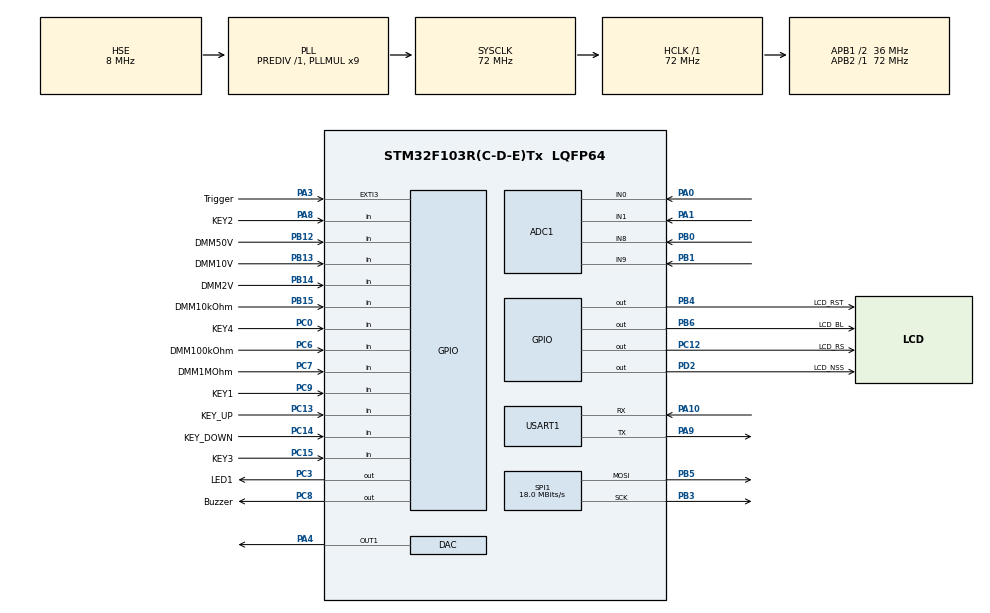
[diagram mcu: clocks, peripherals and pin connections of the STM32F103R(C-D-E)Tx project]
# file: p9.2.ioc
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ADC1.Channel-0\#ChannelRegularConversion=ADC_CHANNEL_1
ADC1.Channel-1\#ChannelInjectedConversion=ADC_CHANNEL_9
ADC1.Channel-2\#ChannelInjectedConversion=ADC_CHANNEL_VREFINT
ADC1.Channel-3\#ChannelInjectedConversion=ADC_CHANNEL_8
ADC1.Channel-4\#ChannelInjectedConversion=ADC_CHANNEL_0
ADC1.EnableInjectedConversion=ENABLE
ADC1.ExternalTrigConv=ADC_EXTERNALTRIGCONV_T3_TRGO
ADC1.ExternalTrigInjecConv=ADC_EXTERNALTRIGINJECCONV_T2_TRGO
ADC1.InjNumberOfConversion=4
ADC1.InjectedOffset-1\#ChannelInjectedConversion=0
ADC1.InjectedOffset-2\#ChannelInjectedConversion=0
ADC1.InjectedOffset-3\#ChannelInjectedConversion=0
ADC1.InjectedOffset-4\#ChannelInjectedConversion=0
ADC1.InjectedRank-1\#ChannelInjectedConversion=1
ADC1.InjectedRank-2\#ChannelInjectedConversion=2
ADC1.InjectedRank-3\#ChannelInjectedConversion=3
ADC1.InjectedRank-4\#ChannelInjectedConversion=4
ADC1.NbrOfConversionFlag=1
ADC1.Rank-0\#ChannelRegularConversion=1
ADC1.SamplingTime-0\#ChannelRegularConversion=ADC_SAMPLETIME_1CYCLE_5
ADC1.SamplingTime-1\#ChannelInjectedConversion=ADC_SAMPLETIME_1CYCLE_5
ADC1.SamplingTime-2\#ChannelInjectedConversion=ADC_SAMPLETIME_239CYCLES_5
ADC1.SamplingTime-3\#ChannelInjectedConversion=ADC_SAMPLETIME_1CYCLE_5
ADC1.SamplingTime-4\#ChannelInjectedConversion=ADC_SAMPLETIME_13CYCLES_5
ADC1.master=1
DAC.DAC_OutputBuffer=DAC_OUTPUTBUFFER_DISABLE
DAC.DAC_Trigger=DAC_TRIGGER_T5_TRGO
Dma.ADC1.1.Direction=DMA_PERIPH_TO_MEMORY
Dma.ADC1.1.Instance=DMA1_Channel1
Dma.ADC1.1.MemDataAlignment=DMA_MDATAALIGN_HALFWORD
Dma.ADC1.1.MemInc=DMA_MINC_ENABLE
Dma.ADC1.1.Mode=DMA_NORMAL
Dma.ADC1.1.PeriphDataAlignment=DMA_PDATAALIGN_HALFWORD
Dma.ADC1.1.PeriphInc=DMA_PINC_DISABLE
Dma.ADC1.1.Priority=DMA_PRIORITY_LOW
Dma.DAC_CH1.2.Direction=DMA_MEMORY_TO_PERIPH
Dma.DAC_CH1.2.Instance=DMA2_Channel3
Dma.DAC_CH1.2.MemDataAlignment=DMA_MDATAALIGN_HALFWORD
Dma.DAC_CH1.2.MemInc=DMA_MINC_ENABLE
Dma.DAC_CH1.2.Mode=DMA_CIRCULAR
Dma.DAC_CH1.2.PeriphDataAlignment=DMA_PDATAALIGN_HALFWORD
Dma.DAC_CH1.2.PeriphInc=DMA_PINC_DISABLE
Dma.DAC_CH1.2.Priority=DMA_PRIORITY_LOW
Dma.Request0=SPI1_TX
Dma.Request1=ADC1
Dma.Request2=DAC_CH1
Dma.SPI1_TX.0.Direction=DMA_MEMORY_TO_PERIPH
Dma.SPI1_TX.0.Instance=DMA1_Channel3
Dma.SPI1_TX.0.MemDataAlignment=DMA_MDATAALIGN_BYTE
Dma.SPI1_TX.0.MemInc=DMA_MINC_ENABLE
Dma.SPI1_TX.0.Mode=DMA_NORMAL
Dma.SPI1_TX.0.PeriphDataAlignment=DMA_PDATAALIGN_BYTE
Dma.SPI1_TX.0.PeriphInc=DMA_PINC_DISABLE
Dma.SPI1_TX.0.Priority=DMA_PRIORITY_LOW
Mcu.Family=STM32F1
Mcu.Name=STM32F103R(C-D-E)Tx
Mcu.Package=LQFP64
NVIC.ADC1_2_IRQn=true\:15\:0\:true\:false\:true\:true\:true\:true
NVIC.DMA1_Channel1_IRQn=true\:6\:0\:true\:false\:true\:false\:true\:true
NVIC.DMA1_Channel3_IRQn=true\:6\:0\:true\:false\:true\:false\:true\:true
NVIC.DMA2_Channel3_IRQn=true\:0\:0\:false\:false\:true\:false\:true\:true
NVIC.EXTI3_IRQn=true\:5\:0\:true\:false\:true\:true\:true\:true
NVIC.PriorityGroup=NVIC_PRIORITYGROUP_4
NVIC.TIM6_IRQn=true\:15\:0\:true\:false\:true\:false\:true\:true
NVIC.TimeBase=TIM6_IRQn
NVIC.TimeBaseIP=TIM6
PA0-WKUP.Signal=ADCx_IN0
PA1.Signal=ADCx_IN1
PA10.Mode=Asynchronous
PA10.Signal=USART1_RX
PA13.Mode=Serial_Wire
PA13.Signal=SYS_JTMS-SWDIO
PA14.Mode=Serial_Wire
PA14.Signal=SYS_JTCK-SWCLK
PA3.GPIO_Label=Trigger
PA3.Signal=GPXTI3
PA4.Signal=COMP_DAC1_group
PA8.GPIO_Label=KEY2
PA8.GPIO_PuPd=GPIO_PULLUP
PA8.Signal=GPIO_Input
PA9.Mode=Asynchronous
PA9.Signal=USART1_TX
PB0.Signal=ADCx_IN8
PB1.Signal=ADCx_IN9
PB12.GPIO_Label=DMM50V
PB12.GPIO_Mode=GPIO_MODE_INPUT
PB12.GPIO_PuPd=GPIO_PULLDOWN
PB12.Signal=GPIO_Input
PB13.GPIO_Label=DMM10V
PB13.GPIO_Mode=GPIO_MODE_INPUT
PB13.GPIO_PuPd=GPIO_PULLDOWN
PB13.Signal=GPIO_Input
PB14.GPIO_Label=DMM2V
PB14.GPIO_Mode=GPIO_MODE_INPUT
PB14.GPIO_PuPd=GPIO_PULLDOWN
PB14.Signal=GPIO_Input
PB15.GPIO_Label=DMM10kOhm
PB15.GPIO_Mode=GPIO_MODE_INPUT
PB15.GPIO_PuPd=GPIO_PULLDOWN
PB15.Signal=GPIO_Input
PB3.Mode=TX_Only_Simplex_Unidirect_Master
PB3.Signal=SPI1_SCK
PB4.GPIO_Label=LCD_RST
PB4.Signal=GPIO_Output
PB5.Mode=TX_Only_Simplex_Unidirect_Master
PB5.Signal=SPI1_MOSI
PB6.GPIO_Label=LCD_BL
PB6.Signal=GPIO_Output
PC0.GPIO_Label=KEY4
PC0.GPIO_PuPd=GPIO_PULLUP
PC0.Signal=GPIO_Input
PC12.GPIO_Label=LCD_RS
PC12.Signal=GPIO_Output
PC13-TAMPER-RTC.GPIO_Label=KEY_UP
PC13-TAMPER-RTC.GPIO_PuPd=GPIO_PULLUP
PC13-TAMPER-RTC.Signal=GPIO_Input
PC14-OSC32_IN.GPIO_Label=KEY_DOWN
PC14-OSC32_IN.GPIO_PuPd=GPIO_PULLUP
PC14-OSC32_IN.Signal=GPIO_Input
PC15-OSC32_OUT.GPIO_Label=KEY3
PC15-OSC32_OUT.GPIO_PuPd=GPIO_PULLUP
PC15-OSC32_OUT.Signal=GPIO_Input
PC3.GPIO_Label=LED1
PC3.Signal=GPIO_Output
PC6.GPIO_Label=DMM100kOhm
PC6.GPIO_Mode=GPIO_MODE_INPUT
PC6.GPIO_PuPd=GPIO_PULLDOWN
PC6.Signal=GPIO_Input
PC7.GPIO_Label=DMM1MOhm
PC7.GPIO_Mode=GPIO_MODE_INPUT
PC7.GPIO_PuPd=GPIO_PULLDOWN
PC7.Signal=GPIO_Input
PC8.GPIO_Label=Buzzer
PC8.Signal=GPIO_Output
PC9.GPIO_Label=KEY1
PC9.GPIO_PuPd=GPIO_PULLUP
PC9.Signal=GPIO_Input
PD0-OSC_IN.Mode=HSE-External-Oscillator
PD0-OSC_IN.Signal=RCC_OSC_IN
PD1-OSC_OUT.Mode=HSE-External-Oscillator
PD1-OSC_OUT.Signal=RCC_OSC_OUT
PD2.GPIO_Label=LCD_NSS
PD2.PinState=GPIO_PIN_SET
PD2.Signal=GPIO_Output
ProjectManager.HeapSize=0x200
ProjectManager.StackSize=0x400
ProjectManager.TargetToolchain=STM32CubeIDE
RCC.ADCPresc=RCC_ADCPCLK2_DIV6
RCC.AHBFreq_Value=72000000
RCC.APB1CLKDivider=RCC_HCLK_DIV2
RCC.APB1Freq_Value=36000000
RCC.APB1TimFreq_Value=72000000
RCC.APB2Freq_Value=72000000
RCC.APB2TimFreq_Value=72000000
RCC.HCLKFreq_Value=72000000
RCC.PLLMUL=RCC_PLL_MUL9
RCC.PLLSourceVirtual=RCC_PLLSOURCE_HSE
RCC.SYSCLKFreq_VALUE=72000000
RCC.SYSCLKSource=RCC_SYSCLKSOURCE_PLLCLK
RCC.USBFreq_Value=72000000
SH.ADCx_IN0.0=ADC1_IN0,IN0
SH.ADCx_IN1.0=ADC1_IN1,IN1
SH.ADCx_IN8.0=ADC1_IN8,IN8
SH.ADCx_IN9.0=ADC1_IN9,IN9
SH.COMP_DAC1_group.0=DAC_OUT1,DAC_OUT1
SPI1.BaudRatePrescaler=SPI_BAUDRATEPRESCALER_4
SPI1.CalculateBaudRate=18.0 MBits/s
SPI1.Direction=SPI_DIRECTION_2LINES
SPI1.Mode=SPI_MODE_MASTER
SPI1.VirtualType=VM_MASTER
TIM2.Period=999
TIM2.Prescaler=7199
TIM2.TIM_MasterOutputTrigger=TIM_TRGO_UPDATE
TIM3.AutoReloadPreload=TIM_AUTORELOAD_PRELOAD_ENABLE
TIM3.Period=561
TIM3.Prescaler=0
TIM3.TIM_MasterOutputTrigger=TIM_TRGO_UPDATE
TIM5.AutoReloadPreload=TIM_AUTORELOAD_PRELOAD_ENABLE
TIM5.Period=1
TIM5.Prescaler=71
TIM5.TIM_MasterOutputTrigger=TIM_TRGO_UPDATE
USART1.VirtualMode=VM_ASYNC
VP_ADC1_Vref_Input.Mode=IN-Vrefint
VP_SYS_VS_tim6.Mode=TIM6
VP_TIM2_VS_ClockSourceINT.Mode=Internal
VP_TIM3_VS_ClockSourceINT.Mode=Internal
VP_TIM5_VS_ClockSourceINT.Mode=Internal
board=custom

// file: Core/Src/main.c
/* USER CODE BEGIN Header */
/**
  ******************************************************************************
  * @file           : main.c
  * @brief          : Main program body
  ******************************************************************************
  * @attention
  *
  * Copyright (c) 2026 STMicroelectronics.
  * All rights reserved.
  *
  * This software is licensed under terms that can be found in the LICENSE file
  * in the root directory of this software component.
  * If no LICENSE file comes with this software, it is provided AS-IS.
  *
  ******************************************************************************
  */
/* USER CODE END Header */
#include "main.h"

/* USER CODE BEGIN Includes */
#include "FreeRTOS.h"
#include "task.h"
#include "key_task.h"
#include "buzzer_task.h"
#include "lcd_task.h"
#include "led_task.h"
#include "dmm.h"
#include "waveform_capture.h"
#include "waveform_generator.h"
/* USER CODE END Includes */

ADC_HandleTypeDef hadc1;
DMA_HandleTypeDef hdma_adc1;

DAC_HandleTypeDef hdac;
DMA_HandleTypeDef hdma_dac_ch1;

SPI_HandleTypeDef hspi1;
DMA_HandleTypeDef hdma_spi1_tx;

TIM_HandleTypeDef htim2;
TIM_HandleTypeDef htim3;
TIM_HandleTypeDef htim5;

UART_HandleTypeDef huart1;

void SystemClock_Config(void);
static void MX_GPIO_Init(void);
static void MX_DMA_Init(void);
static void MX_USART1_UART_Init(void);
static void MX_SPI1_Init(void);
static void MX_ADC1_Init(void);
static void MX_TIM2_Init(void);
static void MX_TIM3_Init(void);
static void MX_DAC_Init(void);
static void MX_TIM5_Init(void);

int main(void)
{

  /* MCU Configuration--------------------------------------------------------*/

  /* Reset of all peripherals, Initializes the Flash interface and the Systick. */
  HAL_Init();

  /* Configure the system clock */
  SystemClock_Config();

  /* Initialize all configured peripherals */
  MX_GPIO_Init();
  MX_DMA_Init();
  MX_USART1_UART_Init();
  MX_SPI1_Init();
  MX_ADC1_Init();
  MX_TIM2_Init();
  MX_TIM3_Init();
  MX_DAC_Init();
  MX_TIM5_Init();
  /* USER CODE BEGIN 2 */
  Buzzer_Init();
  vLCDTaskInit();
  vDMMInit();
  WaveformCapture_Init();
  WaveformGenerator_Init(); // 对波形发生器进行初始化

  xTaskCreate(vKeyTask, "Key", 128, NULL, 3, NULL);
  xTaskCreate(vBuzzerTask, "Buzzer", 128, NULL, 1, NULL);
  xTaskCreate(vLCDTask, "LCD", 256, NULL, 1, NULL);
  xTaskCreate(vLEDTask, "LED", 128, NULL, 0, NULL);
  vTaskStartScheduler();

  /* USER CODE END 2 */

  /* Infinite loop */
  while (1)
  {

  }
}

void SystemClock_Config(void)
{
  RCC_OscInitTypeDef RCC_OscInitStruct = {0};
  RCC_ClkInitTypeDef RCC_ClkInitStruct = {0};
  RCC_PeriphCLKInitTypeDef PeriphClkInit = {0};

  /** Initializes the RCC Oscillators according to the specified parameters
  * in the RCC_OscInitTypeDef structure.
  */
  RCC_OscInitStruct.OscillatorType = RCC_OSCILLATORTYPE_HSE;
  RCC_OscInitStruct.HSEState = RCC_HSE_ON;
  RCC_OscInitStruct.HSEPredivValue = RCC_HSE_PREDIV_DIV1;
  RCC_OscInitStruct.HSIState = RCC_HSI_ON;
  RCC_OscInitStruct.PLL.PLLState = RCC_PLL_ON;
  RCC_OscInitStruct.PLL.PLLSource = RCC_PLLSOURCE_HSE;
  RCC_OscInitStruct.PLL.PLLMUL = RCC_PLL_MUL9;
  if (HAL_RCC_OscConfig(&RCC_OscInitStruct) != HAL_OK)
  {
    Error_Handler();
  }

  /** Initializes the CPU, AHB and APB buses clocks
  */
  RCC_ClkInitStruct.ClockType = RCC_CLOCKTYPE_HCLK|RCC_CLOCKTYPE_SYSCLK
                              |RCC_CLOCKTYPE_PCLK1|RCC_CLOCKTYPE_PCLK2;
  RCC_ClkInitStruct.SYSCLKSource = RCC_SYSCLKSOURCE_PLLCLK;
  RCC_ClkInitStruct.AHBCLKDivider = RCC_SYSCLK_DIV1;
  RCC_ClkInitStruct.APB1CLKDivider = RCC_HCLK_DIV2;
  RCC_ClkInitStruct.APB2CLKDivider = RCC_HCLK_DIV1;

  if (HAL_RCC_ClockConfig(&RCC_ClkInitStruct, FLASH_LATENCY_2) != HAL_OK)
  {
    Error_Handler();
  }
  PeriphClkInit.PeriphClockSelection = RCC_PERIPHCLK_ADC;
  PeriphClkInit.AdcClockSelection = RCC_ADCPCLK2_DIV6;
  if (HAL_RCCEx_PeriphCLKConfig(&PeriphClkInit) != HAL_OK)
  {
    Error_Handler();
  }
}

static void MX_ADC1_Init(void)
{

  ADC_ChannelConfTypeDef sConfig = {0};
  ADC_InjectionConfTypeDef sConfigInjected = {0};

  /** Common config
  */
  hadc1.Instance = ADC1;
  hadc1.Init.ScanConvMode = ADC_SCAN_ENABLE;
  hadc1.Init.ContinuousConvMode = DISABLE;
  hadc1.Init.DiscontinuousConvMode = DISABLE;
  hadc1.Init.ExternalTrigConv = ADC_EXTERNALTRIGCONV_T3_TRGO;
  hadc1.Init.DataAlign = ADC_DATAALIGN_RIGHT;
  hadc1.Init.NbrOfConversion = 1;
  if (HAL_ADC_Init(&hadc1) != HAL_OK)
  {
    Error_Handler();
  }

  /** Configure Regular Channel
  */
  sConfig.Channel = ADC_CHANNEL_1;
  sConfig.Rank = ADC_REGULAR_RANK_1;
  sConfig.SamplingTime = ADC_SAMPLETIME_1CYCLE_5;
  if (HAL_ADC_ConfigChannel(&hadc1, &sConfig) != HAL_OK)
  {
    Error_Handler();
  }

  /** Configure Injected Channel
  */
  sConfigInjected.InjectedChannel = ADC_CHANNEL_9;
  sConfigInjected.InjectedRank = ADC_INJECTED_RANK_1;
  sConfigInjected.InjectedNbrOfConversion = 4;
  sConfigInjected.InjectedSamplingTime = ADC_SAMPLETIME_1CYCLE_5;
  sConfigInjected.ExternalTrigInjecConv = ADC_EXTERNALTRIGINJECCONV_T2_TRGO;
  sConfigInjected.AutoInjectedConv = DISABLE;
  sConfigInjected.InjectedDiscontinuousConvMode = DISABLE;
  sConfigInjected.InjectedOffset = 0;
  if (HAL_ADCEx_InjectedConfigChannel(&hadc1, &sConfigInjected) != HAL_OK)
  {
    Error_Handler();
  }

  /** Configure Injected Channel
  */
  sConfigInjected.InjectedChannel = ADC_CHANNEL_VREFINT;
  sConfigInjected.InjectedRank = ADC_INJECTED_RANK_2;
  sConfigInjected.InjectedSamplingTime = ADC_SAMPLETIME_239CYCLES_5;
  if (HAL_ADCEx_InjectedConfigChannel(&hadc1, &sConfigInjected) != HAL_OK)
  {
    Error_Handler();
  }

  /** Configure Injected Channel
  */
  sConfigInjected.InjectedChannel = ADC_CHANNEL_8;
  sConfigInjected.InjectedRank = ADC_INJECTED_RANK_3;
  sConfigInjected.InjectedSamplingTime = ADC_SAMPLETIME_1CYCLE_5;
  if (HAL_ADCEx_InjectedConfigChannel(&hadc1, &sConfigInjected) != HAL_OK)
  {
    Error_Handler();
  }

  /** Configure Injected Channel
  */
  sConfigInjected.InjectedChannel = ADC_CHANNEL_0;
  sConfigInjected.InjectedRank = ADC_INJECTED_RANK_4;
  sConfigInjected.InjectedSamplingTime = ADC_SAMPLETIME_13CYCLES_5;
  if (HAL_ADCEx_InjectedConfigChannel(&hadc1, &sConfigInjected) != HAL_OK)
  {
    Error_Handler();
  }

}

static void MX_DAC_Init(void)
{

  DAC_ChannelConfTypeDef sConfig = {0};

  /** DAC Initialization
  */
  hdac.Instance = DAC;
  if (HAL_DAC_Init(&hdac) != HAL_OK)
  {
    Error_Handler();
  }

  /** DAC channel OUT1 config
  */
  sConfig.DAC_Trigger = DAC_TRIGGER_T5_TRGO;
  sConfig.DAC_OutputBuffer = DAC_OUTPUTBUFFER_DISABLE;
  if (HAL_DAC_ConfigChannel(&hdac, &sConfig, DAC_CHANNEL_1) != HAL_OK)
  {
    Error_Handler();
  }

}

static void MX_SPI1_Init(void)
{

  /* SPI1 parameter configuration*/
  hspi1.Instance = SPI1;
  hspi1.Init.Mode = SPI_MODE_MASTER;
  hspi1.Init.Direction = SPI_DIRECTION_2LINES;
  hspi1.Init.DataSize = SPI_DATASIZE_8BIT;
  hspi1.Init.CLKPolarity = SPI_POLARITY_LOW;
  hspi1.Init.CLKPhase = SPI_PHASE_1EDGE;
  hspi1.Init.NSS = SPI_NSS_SOFT;
  hspi1.Init.BaudRatePrescaler = SPI_BAUDRATEPRESCALER_4;
  hspi1.Init.FirstBit = SPI_FIRSTBIT_MSB;
  hspi1.Init.TIMode = SPI_TIMODE_DISABLE;
  hspi1.Init.CRCCalculation = SPI_CRCCALCULATION_DISABLE;
  hspi1.Init.CRCPolynomial = 10;
  if (HAL_SPI_Init(&hspi1) != HAL_OK)
  {
    Error_Handler();
  }

}

static void MX_TIM2_Init(void)
{

  TIM_ClockConfigTypeDef sClockSourceConfig = {0};
  TIM_MasterConfigTypeDef sMasterConfig = {0};

  htim2.Instance = TIM2;
  htim2.Init.Prescaler = 7199;
  htim2.Init.CounterMode = TIM_COUNTERMODE_UP;
  htim2.Init.Period = 999;
  htim2.Init.ClockDivision = TIM_CLOCKDIVISION_DIV1;
  htim2.Init.AutoReloadPreload = TIM_AUTORELOAD_PRELOAD_DISABLE;
  if (HAL_TIM_Base_Init(&htim2) != HAL_OK)
  {
    Error_Handler();
  }
  sClockSourceConfig.ClockSource = TIM_CLOCKSOURCE_INTERNAL;
  if (HAL_TIM_ConfigClockSource(&htim2, &sClockSourceConfig) != HAL_OK)
  {
    Error_Handler();
  }
  sMasterConfig.MasterOutputTrigger = TIM_TRGO_UPDATE;
  sMasterConfig.MasterSlaveMode = TIM_MASTERSLAVEMODE_DISABLE;
  if (HAL_TIMEx_MasterConfigSynchronization(&htim2, &sMasterConfig) != HAL_OK)
  {
    Error_Handler();
  }

}

static void MX_TIM3_Init(void)
{

  TIM_ClockConfigTypeDef sClockSourceConfig = {0};
  TIM_MasterConfigTypeDef sMasterConfig = {0};

  htim3.Instance = TIM3;
  htim3.Init.Prescaler = 0;
  htim3.Init.CounterMode = TIM_COUNTERMODE_UP;
  htim3.Init.Period = 561;
  htim3.Init.ClockDivision = TIM_CLOCKDIVISION_DIV1;
  htim3.Init.AutoReloadPreload = TIM_AUTORELOAD_PRELOAD_ENABLE;
  if (HAL_TIM_Base_Init(&htim3) != HAL_OK)
  {
    Error_Handler();
  }
  sClockSourceConfig.ClockSource = TIM_CLOCKSOURCE_INTERNAL;
  if (HAL_TIM_ConfigClockSource(&htim3, &sClockSourceConfig) != HAL_OK)
  {
    Error_Handler();
  }
  sMasterConfig.MasterOutputTrigger = TIM_TRGO_UPDATE;
  sMasterConfig.MasterSlaveMode = TIM_MASTERSLAVEMODE_DISABLE;
  if (HAL_TIMEx_MasterConfigSynchronization(&htim3, &sMasterConfig) != HAL_OK)
  {
    Error_Handler();
  }

}

static void MX_TIM5_Init(void)
{

  TIM_ClockConfigTypeDef sClockSourceConfig = {0};
  TIM_MasterConfigTypeDef sMasterConfig = {0};

  htim5.Instance = TIM5;
  htim5.Init.Prescaler = 71;
  htim5.Init.CounterMode = TIM_COUNTERMODE_UP;
  htim5.Init.Period = 1;
  htim5.Init.ClockDivision = TIM_CLOCKDIVISION_DIV1;
  htim5.Init.AutoReloadPreload = TIM_AUTORELOAD_PRELOAD_ENABLE;
  if (HAL_TIM_Base_Init(&htim5) != HAL_OK)
  {
    Error_Handler();
  }
  sClockSourceConfig.ClockSource = TIM_CLOCKSOURCE_INTERNAL;
  if (HAL_TIM_ConfigClockSource(&htim5, &sClockSourceConfig) != HAL_OK)
  {
    Error_Handler();
  }
  sMasterConfig.MasterOutputTrigger = TIM_TRGO_UPDATE;
  sMasterConfig.MasterSlaveMode = TIM_MASTERSLAVEMODE_DISABLE;
  if (HAL_TIMEx_MasterConfigSynchronization(&htim5, &sMasterConfig) != HAL_OK)
  {
    Error_Handler();
  }

}

static void MX_USART1_UART_Init(void)
{

  huart1.Instance = USART1;
  huart1.Init.BaudRate = 115200;
  huart1.Init.WordLength = UART_WORDLENGTH_8B;
  huart1.Init.StopBits = UART_STOPBITS_1;
  huart1.Init.Parity = UART_PARITY_NONE;
  huart1.Init.Mode = UART_MODE_TX_RX;
  huart1.Init.HwFlowCtl = UART_HWCONTROL_NONE;
  huart1.Init.OverSampling = UART_OVERSAMPLING_16;
  if (HAL_UART_Init(&huart1) != HAL_OK)
  {
    Error_Handler();
  }

}

static void MX_DMA_Init(void)
{

  /* DMA controller clock enable */
  __HAL_RCC_DMA1_CLK_ENABLE();
  __HAL_RCC_DMA2_CLK_ENABLE();

  /* DMA interrupt init */
  /* DMA1_Channel1_IRQn interrupt configuration */
  HAL_NVIC_SetPriority(DMA1_Channel1_IRQn, 6, 0);
  HAL_NVIC_EnableIRQ(DMA1_Channel1_IRQn);
  /* DMA1_Channel3_IRQn interrupt configuration */
  HAL_NVIC_SetPriority(DMA1_Channel3_IRQn, 6, 0);
  HAL_NVIC_EnableIRQ(DMA1_Channel3_IRQn);
  /* DMA2_Channel3_IRQn interrupt configuration */
  HAL_NVIC_SetPriority(DMA2_Channel3_IRQn, 0, 0);
  HAL_NVIC_EnableIRQ(DMA2_Channel3_IRQn);

}

static void MX_GPIO_Init(void)
{
  GPIO_InitTypeDef GPIO_InitStruct = {0};

  /* GPIO Ports Clock Enable */
  __HAL_RCC_GPIOC_CLK_ENABLE();
  __HAL_RCC_GPIOD_CLK_ENABLE();
  __HAL_RCC_GPIOA_CLK_ENABLE();
  __HAL_RCC_GPIOB_CLK_ENABLE();

  /*Configure GPIO pin Output Level */
  HAL_GPIO_WritePin(GPIOC, LED1_Pin|Buzzer_Pin|LCD_RS_Pin, GPIO_PIN_RESET);

  /*Configure GPIO pin Output Level */
  HAL_GPIO_WritePin(LCD_NSS_GPIO_Port, LCD_NSS_Pin, GPIO_PIN_SET);

  /*Configure GPIO pin Output Level */
  HAL_GPIO_WritePin(GPIOB, LCD_RST_Pin|LCD_BL_Pin, GPIO_PIN_RESET);

  /*Configure GPIO pins : KEY_UP_Pin KEY_DOWN_Pin KEY3_Pin KEY4_Pin
                           KEY1_Pin */
  GPIO_InitStruct.Pin = KEY_UP_Pin|KEY_DOWN_Pin|KEY3_Pin|KEY4_Pin
                          |KEY1_Pin;
  GPIO_InitStruct.Mode = GPIO_MODE_INPUT;
  GPIO_InitStruct.Pull = GPIO_PULLUP;
  HAL_GPIO_Init(GPIOC, &GPIO_InitStruct);

  /*Configure GPIO pins : LED1_Pin Buzzer_Pin LCD_RS_Pin */
  GPIO_InitStruct.Pin = LED1_Pin|Buzzer_Pin|LCD_RS_Pin;
  GPIO_InitStruct.Mode = GPIO_MODE_OUTPUT_PP;
  GPIO_InitStruct.Pull = GPIO_NOPULL;
  GPIO_InitStruct.Speed = GPIO_SPEED_FREQ_LOW;
  HAL_GPIO_Init(GPIOC, &GPIO_InitStruct);

  /*Configure GPIO pin : Trigger_Pin */
  GPIO_InitStruct.Pin = Trigger_Pin;
  GPIO_InitStruct.Mode = GPIO_MODE_IT_RISING;
  GPIO_InitStruct.Pull = GPIO_NOPULL;
  HAL_GPIO_Init(Trigger_GPIO_Port, &GPIO_InitStruct);

  /*Configure GPIO pins : DMM50V_Pin DMM10V_Pin DMM2V_Pin DMM10kOhm_Pin */
  GPIO_InitStruct.Pin = DMM50V_Pin|DMM10V_Pin|DMM2V_Pin|DMM10kOhm_Pin;
  GPIO_InitStruct.Mode = GPIO_MODE_INPUT;
  GPIO_InitStruct.Pull = GPIO_PULLDOWN;
  HAL_GPIO_Init(GPIOB, &GPIO_InitStruct);

  /*Configure GPIO pins : DMM100kOhm_Pin DMM1MOhm_Pin */
  GPIO_InitStruct.Pin = DMM100kOhm_Pin|DMM1MOhm_Pin;
  GPIO_InitStruct.Mode = GPIO_MODE_INPUT;
  GPIO_InitStruct.Pull = GPIO_PULLDOWN;
  HAL_GPIO_Init(GPIOC, &GPIO_InitStruct);

  /*Configure GPIO pin : KEY2_Pin */
  GPIO_InitStruct.Pin = KEY2_Pin;
  GPIO_InitStruct.Mode = GPIO_MODE_INPUT;
  GPIO_InitStruct.Pull = GPIO_PULLUP;
  HAL_GPIO_Init(KEY2_GPIO_Port, &GPIO_InitStruct);

  /*Configure GPIO pin : LCD_NSS_Pin */
  GPIO_InitStruct.Pin = LCD_NSS_Pin;
  GPIO_InitStruct.Mode = GPIO_MODE_OUTPUT_PP;
  GPIO_InitStruct.Pull = GPIO_NOPULL;
  GPIO_InitStruct.Speed = GPIO_SPEED_FREQ_LOW;
  HAL_GPIO_Init(LCD_NSS_GPIO_Port, &GPIO_InitStruct);

  /*Configure GPIO pins : LCD_RST_Pin LCD_BL_Pin */
  GPIO_InitStruct.Pin = LCD_RST_Pin|LCD_BL_Pin;
  GPIO_InitStruct.Mode = GPIO_MODE_OUTPUT_PP;
  GPIO_InitStruct.Pull = GPIO_NOPULL;
  GPIO_InitStruct.Speed = GPIO_SPEED_FREQ_LOW;
  HAL_GPIO_Init(GPIOB, &GPIO_InitStruct);

  /* EXTI interrupt init*/
  HAL_NVIC_SetPriority(EXTI3_IRQn, 5, 0);
  HAL_NVIC_EnableIRQ(EXTI3_IRQn);

}

void HAL_TIM_PeriodElapsedCallback(TIM_HandleTypeDef *htim)
{
  if (htim->Instance == TIM6)
  {
    HAL_IncTick();
  }
}

void Error_Handler(void)
{
  __disable_irq();
  while (1)
  {
  }
}
